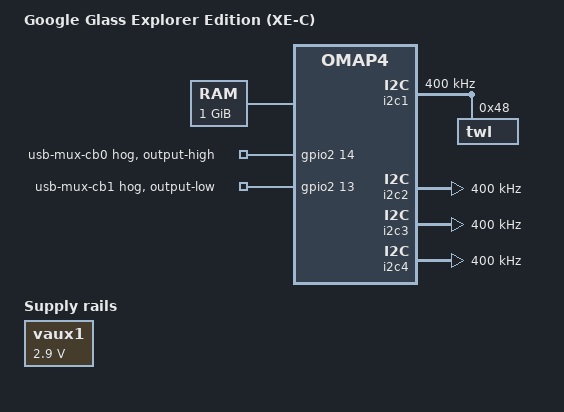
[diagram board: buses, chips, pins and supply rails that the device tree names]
// SPDX-License-Identifier: GPL-2.0-only OR MIT
/*
 * Google Glass Explorer Edition XE-C ("notle", TI OMAP4430, 2 GB): what both
 * images share. Every pad, GPIO and address names its source in Google's
 * Glass kernel 3.4.83 (GlassHack/factory-kernel@1091b53), as
 * arch/arm/mach-omap2/board-notle*.c and board-notle.h, below "notle:".
 * GPIO numbers are those of EVT2 and later boards (the XE-C is a production
 * unit); OMAP4 GPIO n is <&gpio(n/32+1) (n%32)>.
 *
 * Nothing here touches the display: the bootloader programs the iCE40 FPGA
 * (its own fpga partition) and FPGA_CRESET_B (GPIO 87), DISP_ENB (84) and
 * LCD_RST_N (94) are never named, so they keep the bootloader's state.
 */
/dts-v1/;

#include "omap443x.dtsi"

/ {
	model = "Google Glass Explorer Edition (XE-C)";
	compatible = "google,glass-xec", "ti,omap4430", "ti,omap4";

	chosen {
		stdout-path = &uart3;	/* notle: ttyO2, the debug UART */
		#address-cells = <1>;
		#size-cells = <1>;
		ranges;

		/*
		 * The display as the bootloader leaves it, a text console on it.
		 * Glass's U-Boot (XE24 bootloader.img, the routine at 0x24604)
		 * programs the iCE40 FPGA and the DISPC itself: LCD2, 640x360,
		 * hsw 68 hfp 10 hbp 10 / vsw 10 vfp 5 vbp 5 (Google's panel
		 * timings), graphics pipe ARGB32 from 0x80500000. That address lies
		 * inside the decompressed mainline kernel, so this framebuffer is
		 * elsewhere and /init points GFX_BA0/BA1 at it (with the format
		 * set to xRGB, so no alpha) before anything is drawn on it.
		 * Nothing here programs the panel or the FPGA.
		 */
		framebuffer@9c700000 {
			compatible = "simple-framebuffer";
			reg = <0x9c700000 (640 * 360 * 4)>;
			width = <640>;
			height = <360>;
			stride = <(640 * 4)>;
			format = "x8r8g8b8";
			clocks = <&l3_dss_clkctrl OMAP4_DSS_CORE_CLKCTRL 0>,
				 <&l3_dss_clkctrl OMAP4_DSS_CORE_CLKCTRL 8>;
			power-domains = <&prm_dss>;
		};
	};

	/*
	 * A placeholder: ARM_ATAG_DTB_COMPAT replaces it with the bootloader's
	 * ATAG_MEM (2 GB on XE-C, notle: Google's "Enable 2GB support").
	 */
	memory@80000000 {
		device_type = "memory";
		reg = <0x80000000 0x40000000>;
	};

	reserved-memory {
		#address-cells = <1>;
		#size-cells = <1>;
		ranges;

		/*
		 * The secure monitor's RAM (notle: omap4_ion.h PHYS_ADDR_SMC_MEM,
		 * 0x80000000 + 1 GB - 3 MB, PHYS_ADDR_SMC_SIZE 3 MB): never touched.
		 */
		secure@bfd00000 {
			reg = <0xbfd00000 0x300000>;
			no-map;
		};

		/*
		 * Crash logs that survive a warm reset, in the region the stock
		 * kernel keeps for its RAM console (notle: omap_ram_console.h,
		 * 0x80000000 + 512 MB, 2 MB). Read after a reboot from
		 * /sys/fs/pstore.
		 */
		/*
		 * The console's framebuffer (640 x 360 x 4 = 921600 bytes), in RAM
		 * the stock kernel used as ordinary memory (its default bootargs
		 * map 456 MB from 0x80000000: up to 0x9c800000).
		 */
		framebuffer@9c700000 {
			reg = <0x9c700000 0x100000>;
			no-map;
		};

		ramoops@a0000000 {
			compatible = "ramoops";
			reg = <0xa0000000 0x200000>;
			no-map;
			record-size = <0x40000>;
			console-size = <0x100000>;
			pmsg-size = <0x40000>;
		};
	};
};

&omap4_pmx_core {
	/* Applied by the pin controller itself (no consumer). */
	pinctrl-names = "default";
	pinctrl-0 = <&usb_mux_pins>;

	uart3_pins: uart3-pins {
		pinctrl-single,pins = <
			OMAP4_IOPAD(0x144, PIN_INPUT | MUX_MODE0)		/* uart3_rx_irrx */
			OMAP4_IOPAD(0x146, PIN_OUTPUT | MUX_MODE0)		/* uart3_tx_irtx */
		>;
	};

	i2c1_pins: i2c1-pins {
		pinctrl-single,pins = <
			OMAP4_IOPAD(0x122, PIN_INPUT_PULLUP | MUX_MODE0)	/* i2c1_scl */
			OMAP4_IOPAD(0x124, PIN_INPUT_PULLUP | MUX_MODE0)	/* i2c1_sda */
		>;
	};

	i2c2_pins: i2c2-pins {
		pinctrl-single,pins = <
			OMAP4_IOPAD(0x126, PIN_INPUT_PULLUP | MUX_MODE0)	/* i2c2_scl */
			OMAP4_IOPAD(0x128, PIN_INPUT_PULLUP | MUX_MODE0)	/* i2c2_sda */
		>;
	};

	i2c3_pins: i2c3-pins {
		pinctrl-single,pins = <
			OMAP4_IOPAD(0x12a, PIN_INPUT_PULLUP | MUX_MODE0)	/* i2c3_scl */
			OMAP4_IOPAD(0x12c, PIN_INPUT_PULLUP | MUX_MODE0)	/* i2c3_sda */
		>;
	};

	i2c4_pins: i2c4-pins {
		pinctrl-single,pins = <
			OMAP4_IOPAD(0x12e, PIN_INPUT_PULLUP | MUX_MODE0)	/* i2c4_scl */
			OMAP4_IOPAD(0x130, PIN_INPUT_PULLUP | MUX_MODE0)	/* i2c4_sda */
		>;
	};

	usb_otg_hs_pins: usb-otg-hs-pins {
		pinctrl-single,pins = <
			OMAP4_IOPAD(0x194, PIN_OUTPUT_PULLDOWN | MUX_MODE0)	/* usba0_otg_ce */
			OMAP4_IOPAD(0x196, PIN_INPUT | MUX_MODE0)		/* usba0_otg_dp */
			OMAP4_IOPAD(0x198, PIN_INPUT | MUX_MODE0)		/* usba0_otg_dm */
		>;
	};

	/*
	 * The micro-USB connector's data lines go through a mux (notle:
	 * notle-usb-mux.c): CB1 low and CB0 high is USB, CB1 high and CB0 low
	 * the TTY (debug UART on the connector). notle: evt2_board_mux.
	 */
	usb_mux_pins: usb-mux-pins {
		pinctrl-single,pins = <
			OMAP4_IOPAD(0x06c, PIN_OUTPUT | MUX_MODE3)		/* gpmc_a22.gpio_46: USB_MUX_CB0 */
			OMAP4_IOPAD(0x06a, PIN_OUTPUT | MUX_MODE3)		/* gpmc_a21.gpio_45: USB_MUX_CB1 */
		>;
	};
};

&gpio2 {
	/* The connector on the OMAP's USB (notle: USB_MUX_MODE_USB). */
	usb-mux-cb0-hog {
		gpio-hog;
		gpios = <14 GPIO_ACTIVE_HIGH>;			/* GPIO 46 */
		output-high;
		line-name = "usb-mux-cb0";
	};

	usb-mux-cb1-hog {
		gpio-hog;
		gpios = <13 GPIO_ACTIVE_HIGH>;			/* GPIO 45 */
		output-low;
		line-name = "usb-mux-cb1";
	};
};

&uart3 {
	pinctrl-names = "default";
	pinctrl-0 = <&uart3_pins>;

	interrupts-extended = <&wakeupgen GIC_SPI 74 IRQ_TYPE_LEVEL_HIGH
			       &omap4_pmx_core OMAP4_UART3_RX>;
};

/* notle: I2C buses 2, 3, 4 at 384 kHz (board-notle.c notle_i2c_init). */
&i2c1 {
	pinctrl-names = "default";
	pinctrl-0 = <&i2c1_pins>;
	clock-frequency = <400000>;

	/* notle: omap4_pmic_init("twl6030", ...) on I2C1, IRQ SYS_1N. */
	twl: twl@48 {
		reg = <0x48>;
		#clock-cells = <1>;
		interrupts = <GIC_SPI 7 IRQ_TYPE_LEVEL_HIGH>;
		system-power-controller;
	};
};

&i2c2 {
	pinctrl-names = "default";
	pinctrl-0 = <&i2c2_pins>;
	clock-frequency = <400000>;
};

&i2c3 {
	pinctrl-names = "default";
	pinctrl-0 = <&i2c3_pins>;
	clock-frequency = <400000>;
};

&i2c4 {
	pinctrl-names = "default";
	pinctrl-0 = <&i2c4_pins>;
	clock-frequency = <400000>;
};

#include "twl6030.dtsi"
#include "twl6030_omap4.dtsi"

/* notle: notle_vaux1, the eMMC's supply, 2.9 V and always on. */
&vaux1 {
	regulator-min-microvolt = <2900000>;
	regulator-max-microvolt = <2900000>;
	regulator-always-on;
};

/* notle: musb_board_data, UTMI, peripheral (no CONFIG_USB_OTG). */
&usb_otg_hs {
	pinctrl-names = "default";
	pinctrl-0 = <&usb_otg_hs_pins>;

	interface-type = <1>;
	mode = <2>;
	power = <50>;
};

&twl_usb_comparator {
	usb-supply = <&vusb>;
};

/*
 * The display subsystem's bus module stays out of mainline's hands: probed,
 * ti-sysc would reset and idle it, and the bootloader's running display
 * would go dark. Its clocks and power domain are held by the framebuffer
 * above (and pd_ignore_unused on the command line).
 */
&{/ocp/target-module@58000000} {
	status = "disabled";
};

/* Every MMC controller off; the full image turns on MMC2 and MMC5. */
&mmc1 {
	status = "disabled";
};

&mmc2 {
	status = "disabled";
};

&mmc3 {
	status = "disabled";
};

&mmc4 {
	status = "disabled";
};

&mmc5 {
	status = "disabled";
};
